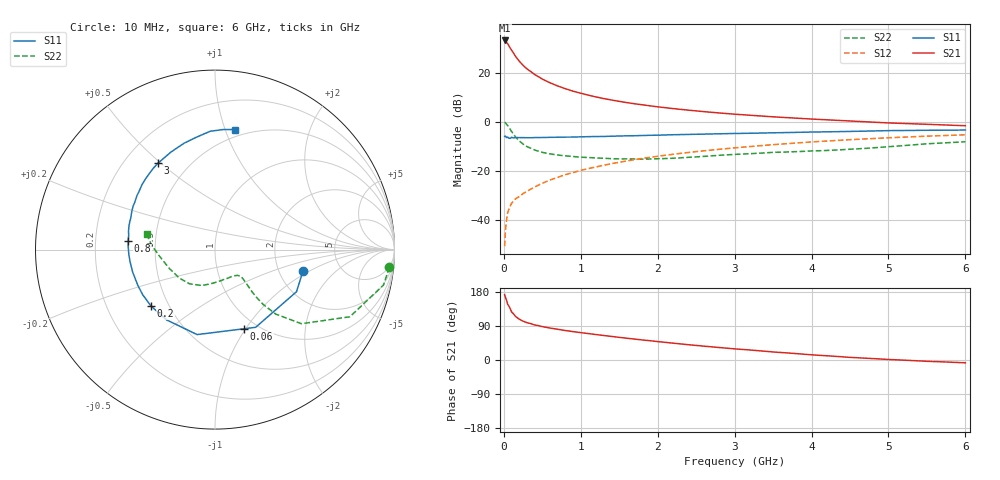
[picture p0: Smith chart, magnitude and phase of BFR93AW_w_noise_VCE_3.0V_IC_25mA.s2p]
! Infineon Technologies  Discrete & RF Semiconductors
! BFR93AW
! VCE =  3.0 V,  IC =  25 mA
! Common Emitter S-Parameters:  Jan 2017
# GHz  S  MA  R  50
!  f  S11  S21  S12  S22
! GHz  MAG  ANG  MAG  ANG  MAG  ANG  MAG  ANG
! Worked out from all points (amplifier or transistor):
!   77 points, 10 MHz to 6 GHz, reference 50 ohm
!   highest |S21| = 33.2 dB at 10 MHz (marker M1)
!   |S21| within 3 dB of that: start of sweep to 81.24 MHz
!   unconditionally stable (mu >= 1): 582.1 MHz to 2.085 GHz
!   at 130 MHz: K = 0.51, MSG = 30.0 dB, |S12| = -32.2 dB
!   at 2.2 GHz: K = 0.99, MSG = 9.3 dB, |S12| = -13.3 dB
!   at 6 GHz: K = 0.89, MSG = 1.9 dB, |S12| = -5.3 dB
!   lowest NFmin = 1.66 dB at 450 MHz
!   S11 on the Smith chart (normalised r, x): 10 MHz: 2.71, -0.88; 60 MHz: 0.87, -0.98; 200 MHz: 0.40, -0.33; 800 MHz: 0.35, +0.04; 3 GHz: 0.34, +0.49; 6 GHz: 0.44, +1.08
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0.01  0.5044 -13.8  45.55 172.6  0.0029 89.4  0.9766 -5.8
0.02  0.5112 -27.3  45.23 165.8  0.0057 77.4  0.9593 -11.9
0.05  0.4887 -62.4  39.14 147.3  0.014 69.2  0.8394 -26.5
0.06  0.4697 -69.9  36.79 144.2  0.0155 66.8  0.7952 -28.7
0.1  0.4838 -101.9  28.92 127.0  0.0216 60.5  0.6346 -40.6
0.15  0.4755 -124.5  21.83 115.3  0.0266 57.6  0.4939 -46.7
0.2  0.4754 -138.5  17.23 107.8  0.0299 58.9  0.4077 -48.7
0.25  0.4749 -148.1  14.19 102.4  0.0343 59.5  0.3513 -49.0
0.3  0.4738 -155.1  11.99 98.6  0.0381 60.8  0.3118 -48.7
0.4  0.4757 -164.8  9.202 92.6  0.0465 64.4  0.2653 -47.5
0.5  0.478 -171.7  7.419 88.1  0.0557 66.2  0.2377 -46.6
0.6  0.4808 -177.0  6.238 84.3  0.0647 67.4  0.221 -46.1
0.8  0.4866 174.4  4.722 77.8  0.0836 69.2  0.2016 -46.7
0.9  0.487 171.0  4.205 74.9  0.0921 68.8  0.1956 -47.9
1.1  0.4971 164.6  3.484 69.7  0.1109 69.0  0.1862 -51.0
1.5  0.5121 154.3  2.607 59.8  0.149 67.3  0.1748 -61.2
2.1  0.5379 140.6  1.936 46.6  0.2074 63.1  0.1778 -82.8
3  0.5771 123.3  1.427 29.4  0.2935 54.9  0.2162 -113.0
3.1  0.5797 121.5  1.392 27.9  0.3028 53.8  0.2194 -115.9
4.1  0.6202 104.7  1.116 12.4  0.3959 43.4  0.2565 -144.7
5.1  0.6614 91.0  0.935 0.5  0.4785 32.2  0.318 -175.4
6  0.6779 80.6  0.83 -7.4  0.542 22.1  0.3916 166.8
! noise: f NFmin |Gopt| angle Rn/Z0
0.45  1.66  0.17  171  0.16
0.9  1.93  0.25  -177  0.16
1.9  2.93  0.49  -136  0.25
2.4  3.59  0.55  -125  0.5
